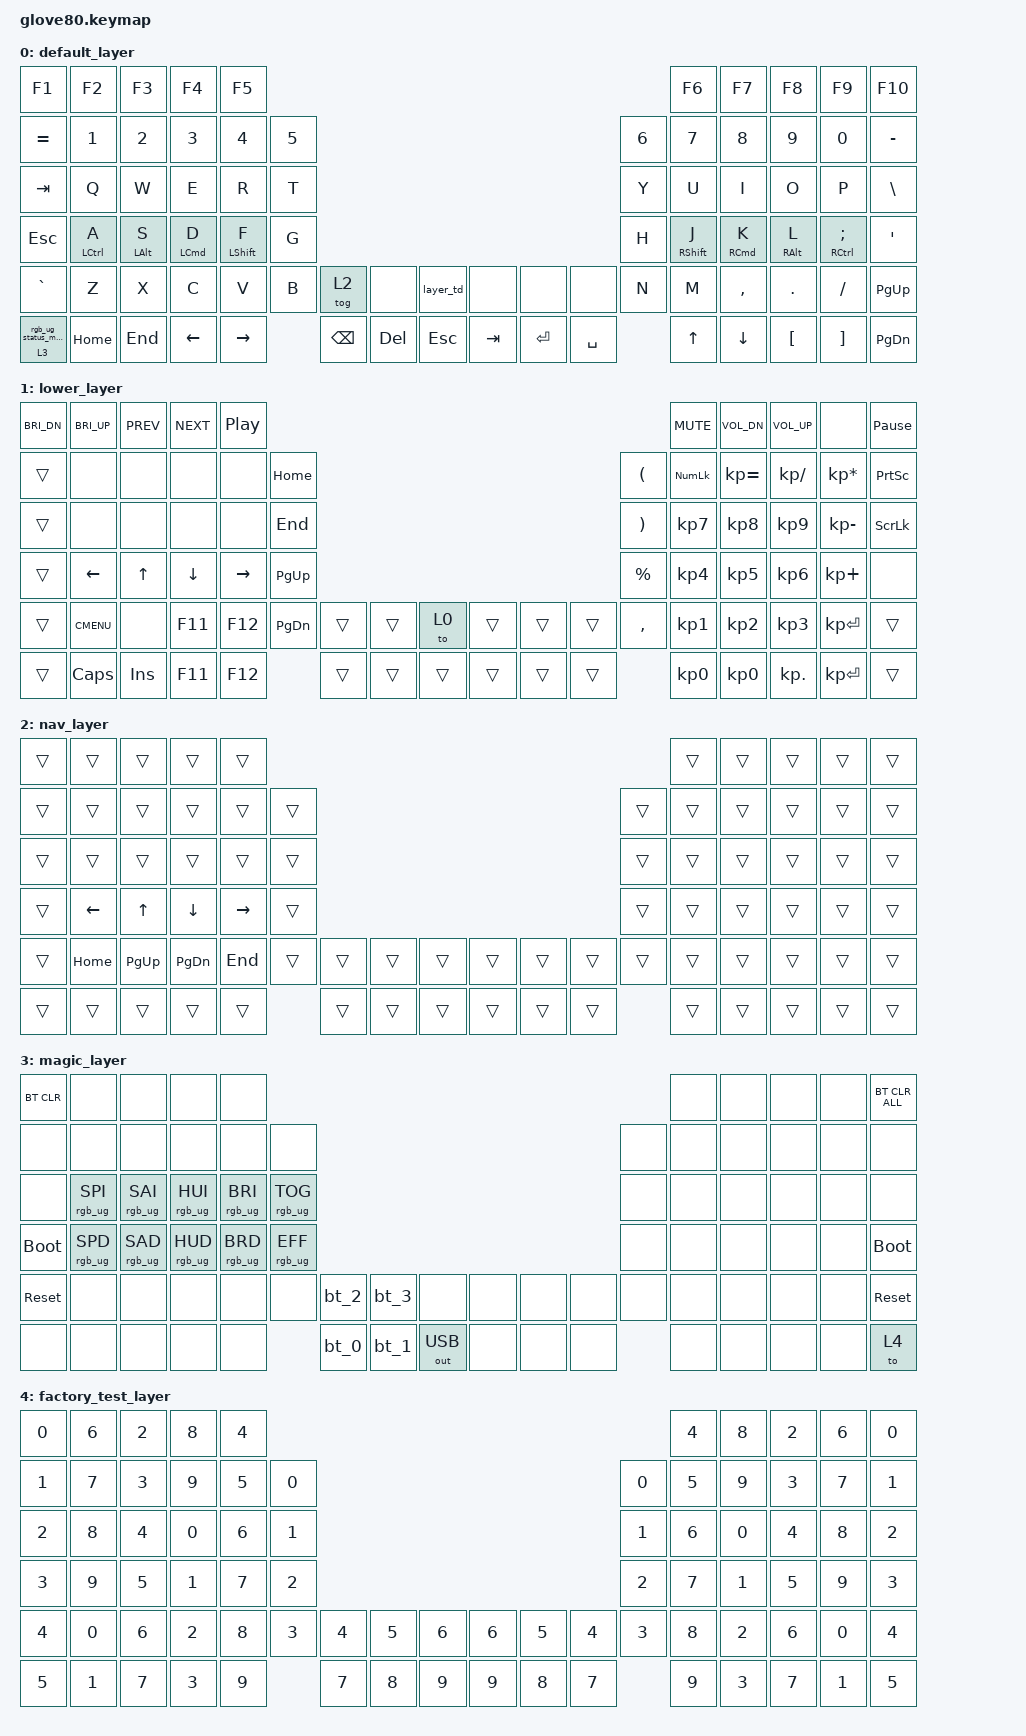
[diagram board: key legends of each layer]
/*
 * Copyright (c) 2020 The ZMK Contributors
 *
 * SPDX-License-Identifier: MIT
 */

#include <behaviors.dtsi>
#include <dt-bindings/zmk/bt.h>
#include <dt-bindings/zmk/keys.h>
#include <dt-bindings/zmk/outputs.h>
#include <dt-bindings/zmk/rgb.h>

#define HYPER LC(LS(LG(LALT)))

// layers

#define DEFAULT 0
#define LOWER 1
#define MAGIC 2
#define FACTORY_TEST 3

/ {
    behaviors {
        // For the "layer" key, it'd nice to be able to use it as either a shift or a toggle.
        // Configure it as a tap dance, so the first tap (or hold) is a &mo and the second tap is a &to

        layer_td: tap_dance_0 {
            compatible = "zmk,behavior-tap-dance";
            label = "LAYER_TAP_DANCE";
            #binding-cells = <0>;
            tapping-term-ms = <200>;
            bindings = <&mo 1>, <&to 1>;
        };

        magic: magic_hold_tap {
            compatible = "zmk,behavior-hold-tap";
            label = "MAGIC_HOLD_TAP";
            #binding-cells = <2>;
            flavor = "tap-preferred";
            tapping-term-ms = <200>;
            bindings = <&mo>, <&rgb_ug_status_macro>;
        };

        hm: homerow_mods {
            compatible = "zmk,behavior-hold-tap";
            label = "HOMEROW_MODS";
            bindings = <&kp>, <&kp>;

            #binding-cells = <2>;
            tapping-term-ms = <200>;
            flavor = "tap-preferred";
        };
    };

    macros {
        rgb_ug_status_macro: rgb_ug_status_macro_0 {
            label = "RGB_UG_STATUS";
            compatible = "zmk,behavior-macro";
            #binding-cells = <0>;
            bindings = <&rgb_ug RGB_STATUS>;
        };

        bt_0: bt_profile_macro_0 {
            label = "BT_0";
            compatible = "zmk,behavior-macro";
            #binding-cells = <0>;
            bindings = <&out OUT_BLE &bt BT_SEL 0>;
        };

        bt_1: bt_profile_macro_1 {
            label = "BT_1";
            compatible = "zmk,behavior-macro";
            #binding-cells = <0>;
            bindings = <&out OUT_BLE &bt BT_SEL 1>;
        };

        bt_2: bt_profile_macro_2 {
            label = "BT_2";
            compatible = "zmk,behavior-macro";
            #binding-cells = <0>;
            bindings = <&out OUT_BLE &bt BT_SEL 2>;
        };

        bt_3: bt_profile_macro_3 {
            label = "BT_3";
            compatible = "zmk,behavior-macro";
            #binding-cells = <0>;
            bindings = <&out OUT_BLE &bt BT_SEL 3>;
        };
    };

    keymap {
        compatible = "zmk,keymap";

        default_layer {
            // ---------------------------------------------------------------------------------------------------------------------------------
            // |  F1   |  F2 |  F3 |  F4  |  F5  |                                                               |  F6   |  F7   |  F8  |   F9  |  F10 |
            // |  =    |  1  |  2  |  3   |  4   |  5   |                                                 |  6   |   7   |   8   |  9   |   0   |   -  |
            // |  TAB  |  Q  |  W  |  E   |  R   |  T   |                                                 |  Y   |   U   |   I   |  O   |   P   |   \  |
            // |  ESC  |  A  |  S  |  D   |  F   |  G   |                                                 |  H   |   J   |   K   |  L   |   ;   |   '  |
            // |   `   |  Z  |  X  |  C   |  V   |  B   | LSHFT | LCTRL | LOWER | | LGUI  | RCTRL | RSHFT |  N   |   M   |   ,   |  .   |   /   | PGUP |
            // | MAGIC | HOME| END | LEFT | RIGHT|      | BSPC  | DEL   | LALT  | | RALT  | RET   | SPACE |      |  UP   | DOWN  |  [   |   ]   | PGDN |

            bindings = <
&kp F1      &kp F2              &kp F3          &kp F4              &kp F5                                                                                        &kp F6             &kp F7               &kp F8           &kp F9                  &kp F10
&kp EQUAL   &kp N1              &kp N2          &kp N3              &kp N4            &kp N5                                                              &kp N6  &kp N7             &kp N8               &kp N9           &kp N0                  &kp MINUS
&kp TAB     &kp Q               &kp W           &kp E               &kp R             &kp T                                                               &kp Y   &kp U              &kp I                &kp O            &kp P                   &kp BSLH
&kp ESC     &hm LEFT_CONTROL A  &hm LEFT_ALT S  &hm LEFT_COMMAND D  &hm LEFT_SHIFT F  &kp G                                                               &kp H   &hm RIGHT_SHIFT J  &hm RIGHT_COMMAND K  &hm RIGHT_ALT L  &hm RIGHT_CONTROL SEMI  &kp SQT
&kp GRAVE   &kp Z               &kp X           &kp C               &kp V             &kp B   &tog 2    &none    &layer_td   &none    &none    &none      &kp N   &kp M              &kp COMMA            &kp DOT          &kp FSLH                &kp PG_UP
&magic 3 0  &kp HOME            &kp END         &kp LEFT            &kp RIGHT                 &kp BSPC  &kp DEL  &kp ESCAPE  &kp TAB  &kp RET  &kp SPACE          &kp UP             &kp DOWN             &kp LBKT         &kp RBKT                &kp PG_DN
            >;
        };

        lower_layer {
            bindings = <
&kp C_BRI_DN  &kp C_BRI_UP  &kp C_PREV    &kp C_NEXT  &kp C_PP                                                                         &kp C_MUTE  &kp C_VOL_DN  &kp C_VOL_UP   &none            &kp PAUSE_BREAK
&trans        &none         &none         &none       &none      &kp HOME                                                   &kp LPAR   &kp KP_NUM  &kp KP_EQUAL  &kp KP_DIVIDE  &kp KP_MULTIPLY  &kp PSCRN
&trans        &none         &none         &none       &none      &kp END                                                    &kp RPAR   &kp KP_N7   &kp KP_N8     &kp KP_N9      &kp KP_MINUS     &kp SLCK
&trans        &kp LEFT      &kp UP_ARROW  &kp DOWN    &kp RIGHT  &kp PG_UP                                                  &kp PRCNT  &kp KP_N4   &kp KP_N5     &kp KP_N6      &kp KP_PLUS      &none
&trans        &kp K_CMENU   &none         &kp F11     &kp F12    &kp PG_DN  &trans  &trans  &to 0   &trans  &trans  &trans  &kp COMMA  &kp KP_N1   &kp KP_N2     &kp KP_N3      &kp KP_ENTER     &trans
&trans        &kp CAPS      &kp INS       &kp F11     &kp F12               &trans  &trans  &trans  &trans  &trans  &trans             &kp KP_N0   &kp KP_N0     &kp KP_DOT     &kp KP_ENTER     &trans
            >;
        };

        nav_layer {
            bindings = <
&trans  &trans    &trans       &trans         &trans                                                                     &trans  &trans  &trans  &trans  &trans
&trans  &trans    &trans       &trans         &trans     &trans                                                  &trans  &trans  &trans  &trans  &trans  &trans
&trans  &trans    &trans       &trans         &trans     &trans                                                  &trans  &trans  &trans  &trans  &trans  &trans
&trans  &kp LEFT  &kp UP       &kp DOWN       &kp RIGHT  &trans                                                  &trans  &trans  &trans  &trans  &trans  &trans
&trans  &kp HOME  &kp PAGE_UP  &kp PAGE_DOWN  &kp END    &trans  &trans  &trans  &trans  &trans  &trans  &trans  &trans  &trans  &trans  &trans  &trans  &trans
&trans  &trans    &trans       &trans         &trans             &trans  &trans  &trans  &trans  &trans  &trans          &trans  &trans  &trans  &trans  &trans
            >;
        };

        magic_layer {
            bindings = <
&bt BT_CLR   &none            &none            &none            &none                                                                                     &none  &none  &none  &none  &bt BT_CLR_ALL
&none        &none            &none            &none            &none            &none                                                             &none  &none  &none  &none  &none  &none
&none        &rgb_ug RGB_SPI  &rgb_ug RGB_SAI  &rgb_ug RGB_HUI  &rgb_ug RGB_BRI  &rgb_ug RGB_TOG                                                   &none  &none  &none  &none  &none  &none
&bootloader  &rgb_ug RGB_SPD  &rgb_ug RGB_SAD  &rgb_ug RGB_HUD  &rgb_ug RGB_BRD  &rgb_ug RGB_EFF                                                   &none  &none  &none  &none  &none  &bootloader
&sys_reset   &none            &none            &none            &none            &none            &bt_2  &bt_3  &none         &none  &none  &none  &none  &none  &none  &none  &none  &sys_reset
&none        &none            &none            &none            &none                             &bt_0  &bt_1  &out OUT_USB  &none  &none  &none         &none  &none  &none  &none  &to 4
            >;
        };

        factory_test_layer {
            bindings = <
&kp N0  &kp N6  &kp N2  &kp N8  &kp N4                                                                  &kp N4  &kp N8  &kp N2  &kp N6  &kp N0
&kp N1  &kp N7  &kp N3  &kp N9  &kp N5  &kp N0                                                  &kp N0  &kp N5  &kp N9  &kp N3  &kp N7  &kp N1
&kp N2  &kp N8  &kp N4  &kp N0  &kp N6  &kp N1                                                  &kp N1  &kp N6  &kp N0  &kp N4  &kp N8  &kp N2
&kp N3  &kp N9  &kp N5  &kp N1  &kp N7  &kp N2                                                  &kp N2  &kp N7  &kp N1  &kp N5  &kp N9  &kp N3
&kp N4  &kp N0  &kp N6  &kp N2  &kp N8  &kp N3  &kp N4  &kp N5  &kp N6  &kp N6  &kp N5  &kp N4  &kp N3  &kp N8  &kp N2  &kp N6  &kp N0  &kp N4
&kp N5  &kp N1  &kp N7  &kp N3  &kp N9          &kp N7  &kp N8  &kp N9  &kp N9  &kp N8  &kp N7          &kp N9  &kp N3  &kp N7  &kp N1  &kp N5
            >;
        };
    };
};
